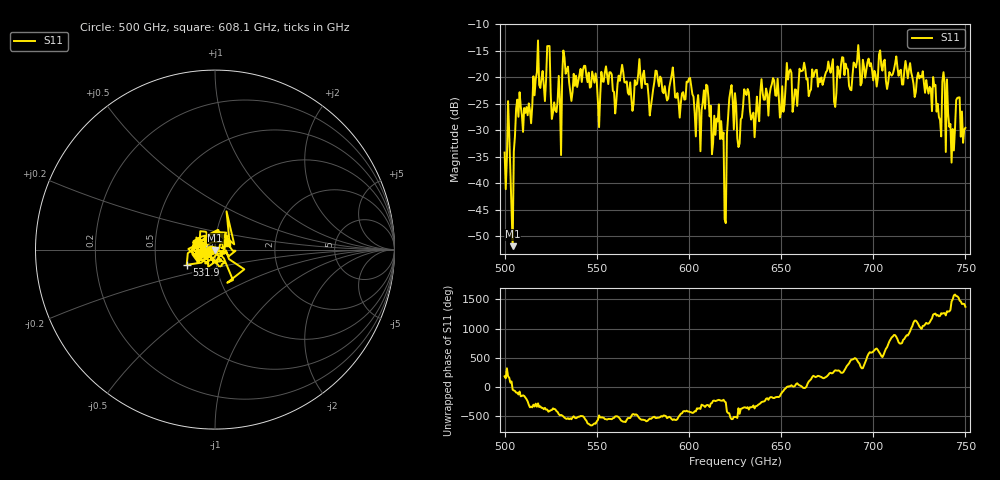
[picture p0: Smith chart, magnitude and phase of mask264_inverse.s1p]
!Created with skrf (http://scikit-rf.org).
# GHz S MA R 50.0
!freq magS11 angS11
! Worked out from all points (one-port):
!   401 points, 500 GHz to 750 GHz, reference 50 ohm
!   lowest |S11| = -51.8 dB at 504.4 GHz (marker M1), VSWR 1.01, Z = 50.2 - j0.201 ohm
!   |S11| at or under -10 dB: start of sweep to end of sweep
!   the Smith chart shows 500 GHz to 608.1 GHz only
!   S11 on the Smith chart (normalised r, x): 500 GHz: 0.96, +0.00; 531.9 GHz: 0.72, -0.13; 608.1 GHz: 1.13, +0.09
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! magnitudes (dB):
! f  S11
! 500 GHz  -34.2
! 504.4 GHz  -51.8
! 507.5 GHz  -27.4
! 513.8 GHz  -26.2
! 516.9 GHz  -20.4
! 523.8 GHz  -14.1
! 526.9 GHz  -24.7
! 531.2 GHz  -19.6
! 531.9 GHz  -14.9
! 562.5 GHz  -20.7
! 593.8 GHz  -23.0
! 608.1 GHz  -22.5
! 617.5 GHz  -28.3
! 619.4 GHz  -46.8
! 622.5 GHz  -22.6
! 625 GHz  -23.0
! 627.5 GHz  -32.5
! 631.2 GHz  -23.3
! 635 GHz  -26.7
! 645 GHz  -21.3
! 656.2 GHz  -26.5
! 687.5 GHz  -22.3
! 718.8 GHz  -20.2
! 735.6 GHz  -27.5
! 738.8 GHz  -21.2
! 742.5 GHz  -36.1
! 745.6 GHz  -23.9
! 750 GHz  -29.5
